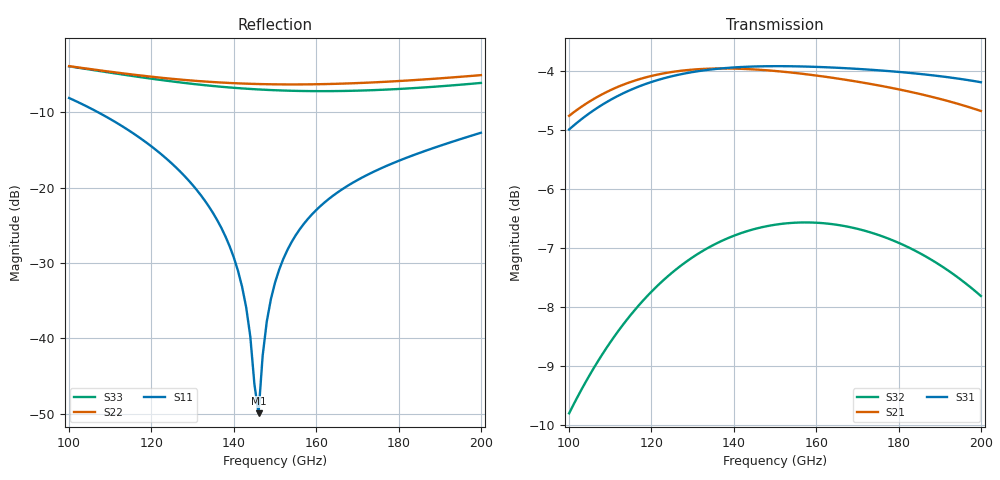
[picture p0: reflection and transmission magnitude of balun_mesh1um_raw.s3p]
#  GHZ S DB R 50.0
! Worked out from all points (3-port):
!   101 points, 100 GHz to 200 GHz, reference 50 ohm
!   strongest paths, dB at 100 GHz, 125 GHz, 150 GHz, 175 GHz, 200 GHz:
!     S31: -5.0, -4.1, -3.9, -4.0, -4.2
!     S21: -4.8, -4.0, -4.0, -4.2, -4.7
!     S32: -9.8, -7.4, -6.6, -6.8, -7.8
!   lowest |S11| = -50.0 dB at 146 GHz (marker M1), VSWR 1.01, Z = 49.7 - j0.0385 ohm
!   |S11| at or under -10 dB: 107.1 GHz to end of sweep
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100  -8.08 124.8  -4.76 -13.0  -4.99 163.5
     -4.76 -13.0  -3.85 59.0  -9.80 89.8
     -4.99 163.5  -9.80 89.8  -3.87 49.4
121  -14.94 94.8  -4.07 -45.2  -4.17 129.4
     -4.07 -45.2  -5.31 41.0  -7.67 58.8
     -4.17 129.4  -7.67 58.8  -5.59 28.4
135  -23.40 80.2  -3.96 -64.6  -3.97 108.8
     -3.96 -64.6  -5.96 31.1  -6.95 39.7
     -3.97 108.8  -6.95 39.7  -6.48 17.2
142  -33.14 78.2  -3.97 -73.8  -3.94 99.0
     -3.97 -73.8  -6.15 26.4  -6.74 30.6
     -3.94 99.0  -6.74 30.6  -6.80 12.1
146  -49.96 -173.0  -3.98 -79.0  -3.93 93.5
     -3.98 -79.0  -6.22 23.7  -6.66 25.5
     -3.93 93.5  -6.66 25.5  -6.94 9.2
148  -37.78 -126.6  -3.99 -81.5  -3.92 90.8
     -3.99 -81.5  -6.24 22.4  -6.63 23.0
     -3.92 90.8  -6.63 23.0  -6.99 7.8
150  -32.61 -122.7  -4.00 -84.0  -3.92 88.2
     -4.00 -84.0  -6.26 21.0  -6.61 20.5
     -3.92 88.2  -6.61 20.5  -7.04 6.4
156  -25.52 -123.5  -4.05 -91.5  -3.93 80.2
     -4.05 -91.5  -6.27 16.9  -6.57 13.1
     -3.93 80.2  -6.57 13.1  -7.14 2.1
165  -20.69 -128.3  -4.13 -102.5  -3.95 68.6
     -4.13 -102.5  -6.19 10.3  -6.61 2.2
     -3.95 68.6  -6.61 2.2  -7.15 -4.5
200  -12.70 -147.4  -4.68 -144.9  -4.20 23.6
     -4.68 -144.9  -5.04 -20.2  -7.81 -39.9
     -4.20 23.6  -7.81 -39.9  -6.07 -34.4
